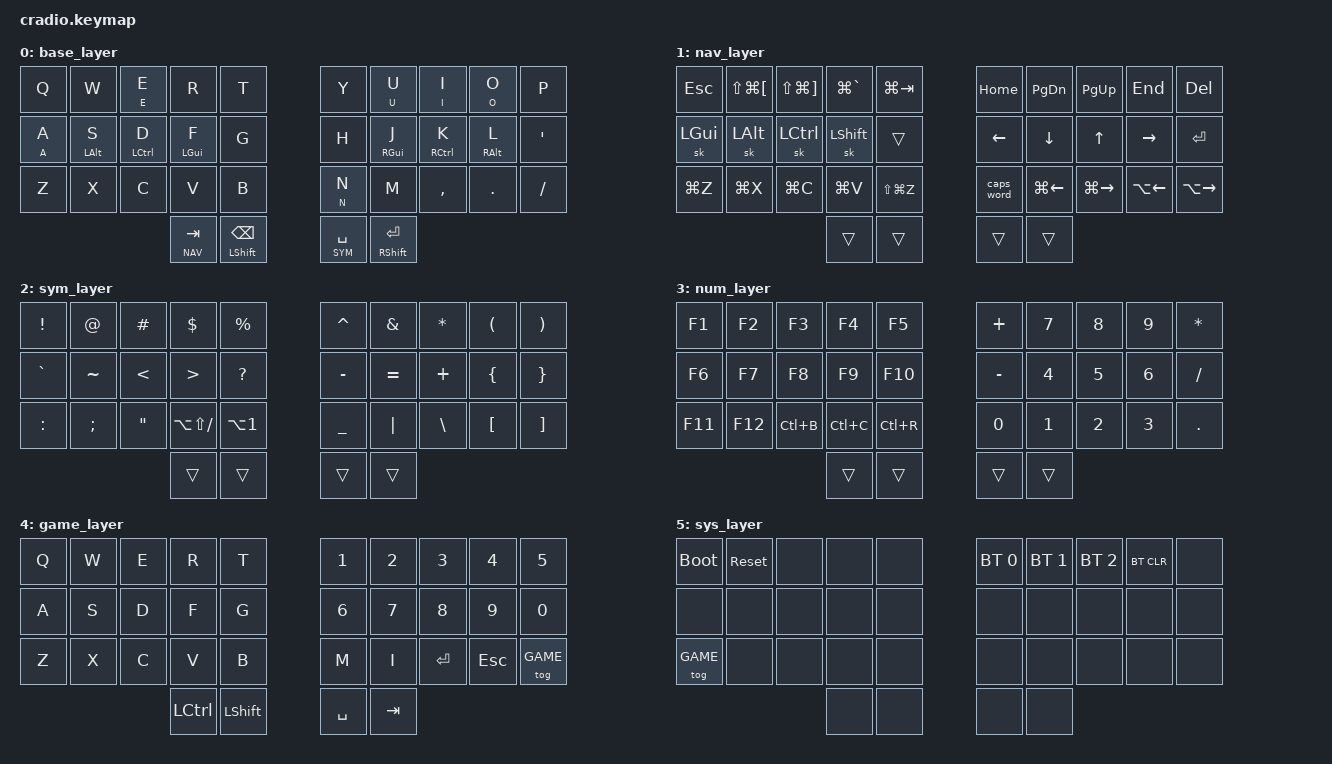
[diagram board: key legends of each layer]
// Copyright (c) 2022 The ZMK Contributors
// SPDX-License-Identifier: MIT

#include <behaviors.dtsi>
#include <dt-bindings/zmk/keys.h>
#include <dt-bindings/zmk/bt.h>
#include <dt-bindings/zmk/pointing.h>
#include <dt-bindings/zmk/mouse.h>

// Layers
#define BASE 0
#define NAV  1
#define SYM  2
#define NUM  3
#define GAME 4
#define SYS  5

/ {
    macros {
        template_literal: template_literal_macro {
            compatible = "zmk,behavior-macro";
            label = "TEMPLATE_LITERAL";
            #binding-cells = <0>;
            bindings = <&kp GRAVE &kp DLLR &kp LBRC &kp RBRC &kp GRAVE>;
        };
        equals_strict: equals_strict_macro {
            compatible = "zmk,behavior-macro";
            label = "EQUALS_STRICT";
            #binding-cells = <0>;
            bindings = <&kp EQUAL &kp EQUAL &kp EQUAL>;
        };
        not_equal: not_equal_macro {
            compatible = "zmk,behavior-macro";
            label = "NOT_EQUAL";
            #binding-cells = <0>;
            bindings = <&kp EXCL &kp EQUAL &kp EQUAL>;
        };
        and_logical: and_logical_macro {
            compatible = "zmk,behavior-macro";
            label = "AND_LOGICAL";
            #binding-cells = <0>;
            bindings = <&kp AMPS &kp AMPS>;
        };
        or_logical: or_logical_macro {
            compatible = "zmk,behavior-macro";
            label = "OR_LOGICAL";
            #binding-cells = <0>;
            bindings = <&kp PIPE &kp PIPE>;
        };
        arrow: arrow_macro {
            compatible = "zmk,behavior-macro";
            label = "ARROW";
            #binding-cells = <0>;
            bindings = <&kp EQUAL &kp GT>;
        };

        // macOS US layout: Option+E then a vowel gives an acute accent
        acute: acute_macro {
            compatible = "zmk,behavior-macro-one-param";
            label = "ACUTE";
            #binding-cells = <1>;
            bindings = <&macro_tap &kp LA(E) &macro_param_1to1 &kp MACRO_PLACEHOLDER>;
        };
        // macOS US layout: Option+N then n gives ñ
        tilde: tilde_macro {
            compatible = "zmk,behavior-macro-one-param";
            label = "TILDE";
            #binding-cells = <1>;
            bindings = <&macro_tap &kp LA(N) &macro_param_1to1 &kp MACRO_PLACEHOLDER>;
        };
    };

    combos {
        compatible = "zmk,combos";
        #include "combos.dtsi"
    };

    behaviors {
        // Home row mods
        ht: hold_tap {
            compatible = "zmk,behavior-hold-tap";
            #binding-cells = <2>;
            flavor = "tap-preferred";
            tapping-term-ms = <220>;
            quick-tap-ms = <150>;
            require-prior-idle-ms = <100>;
            bindings = <&kp>, <&kp>;
        };
        // Tap = vowel, hold = accented vowel
        ha: hold_tap_accent {
            compatible = "zmk,behavior-hold-tap";
            #binding-cells = <2>;
            flavor = "tap-preferred";
            tapping-term-ms = <200>;
            quick-tap-ms = <150>;
            require-prior-idle-ms = <100>;
            bindings = <&acute>, <&kp>;
        };
        // Tap = n, hold = ñ
        hn: hold_tap_tilde {
            compatible = "zmk,behavior-hold-tap";
            #binding-cells = <2>;
            flavor = "tap-preferred";
            tapping-term-ms = <200>;
            quick-tap-ms = <150>;
            require-prior-idle-ms = <100>;
            bindings = <&tilde>, <&kp>;
        };
    };

    conditional_layers {
        compatible = "zmk,conditional-layers";
        tri_layer {
            if-layers = <1 2>;
            then-layer = <3>;
        };
    };

    keymap {
        compatible = "zmk,keymap";

        base_layer {
            bindings = <
        //  Q         W         E´        R         T            Y         U´        I´        O´        P
            &kp Q     &kp W     &ha E E   &kp R     &kp T        &kp Y     &ha U U   &ha I I   &ha O O   &kp P
        //  A´        S⌥        D⌃        F⌘        G            H         J⌘        K⌃        L⌥        '
            &ha A A   &ht LALT S &ht LCTRL D &ht LGUI F &kp G    &kp H     &ht RGUI J &ht RCTRL K &ht RALT L &kp SQT
        //  Z         X         C         V         B            Ñ         M         ,         .         /
            &kp Z     &kp X     &kp C     &kp V     &kp B        &hn N N   &kp M     &kp COMMA &kp DOT   &kp FSLH
        //                      Tab/NAV   Bksp/⇧                 Space/SYM Enter/⇧
                                &lt NAV TAB &ht LSHFT BSPC       &lt SYM SPACE &ht RSHFT RET
            >;
        };

        nav_layer {
            bindings = <
        //  Esc       ⌘⇧[       ⌘⇧]       ⌘`        ⌘Tab         Home      PgDn      PgUp      End       Del
            &kp ESC   &kp LS(LG(LBKT)) &kp LS(LG(RBKT)) &kp LG(GRAVE) &kp LG(TAB)   &kp HOME  &kp PG_DN &kp PG_UP &kp END   &kp DEL
        //  ⌘         ⌥         ⌃         ⇧         ·            ←         ↓         ↑         →         Enter
            &sk LGUI  &sk LALT  &sk LCTRL &sk LSHFT &trans       &kp LEFT  &kp DOWN  &kp UP    &kp RIGHT &kp RET
        //  ⌘Z        ⌘X        ⌘C        ⌘V        ⌘⇧Z          Caps      ⌘←        ⌘→        ⌥←        ⌥→
            &kp LG(Z) &kp LG(X) &kp LG(C) &kp LG(V) &kp LS(LG(Z))  &caps_word &kp LG(LEFT) &kp LG(RIGHT) &kp LA(LEFT) &kp LA(RIGHT)
                                &trans    &trans                 &trans    &trans
            >;
        };

        sym_layer {
            bindings = <
        //  !         @         #         $         %            ^         &         *         (         )
            &kp EXCL  &kp AT    &kp HASH  &kp DLLR  &kp PRCNT    &kp CARET &kp AMPS  &kp ASTRK &kp LPAR  &kp RPAR
        //  `         ~         <         >         ?            -         =         +         {         }
            &kp GRAVE &kp TILDE &kp LT    &kp GT    &kp QMARK    &kp MINUS &kp EQUAL &kp PLUS  &kp LBRC  &kp RBRC
        //  :         ;         "         ¿         ¡            _         |         \         [         ]
            &kp COLON &kp SEMI  &kp DQT   &kp LA(LS(FSLH)) &kp LA(N1)  &kp UNDER &kp PIPE &kp BSLH &kp LBKT  &kp RBKT
                                &trans    &trans                 &trans    &trans
            >;
        };

        num_layer {
            bindings = <
        //  F1        F2        F3        F4        F5           +         7         8         9         *
            &kp F1    &kp F2    &kp F3    &kp F4    &kp F5       &kp PLUS  &kp N7    &kp N8    &kp N9    &kp ASTRK
        //  F6        F7        F8        F9        F10          -         4         5         6         /
            &kp F6    &kp F7    &kp F8    &kp F9    &kp F10      &kp MINUS &kp N4    &kp N5    &kp N6    &kp FSLH
        //  F11       F12       ⌃B (tmux) ⌃C        ⌃R           0         1         2         3         .
            &kp F11   &kp F12   &kp LC(B) &kp LC(C) &kp LC(R)    &kp N0    &kp N1    &kp N2    &kp N3    &kp DOT
                                &trans    &trans                 &trans    &trans
            >;
        };

        // Plain keys only: no hold-tap, no combos
        game_layer {
            bindings = <
        //  Q         W         E         R         T            1         2         3         4         5
            &kp Q     &kp W     &kp E     &kp R     &kp T        &kp N1    &kp N2    &kp N3    &kp N4    &kp N5
        //  A         S         D         F         G            6         7         8         9         0
            &kp A     &kp S     &kp D     &kp F     &kp G        &kp N6    &kp N7    &kp N8    &kp N9    &kp N0
        //  Z         X         C         V         B            M         I         Enter     Esc       EXIT
            &kp Z     &kp X     &kp C     &kp V     &kp B        &kp M     &kp I     &kp RET   &kp ESC   &tog GAME
        //                      Ctrl      Shift                  Space     Tab
                                &kp LCTRL &kp LSHFT              &kp SPACE &kp TAB
            >;
        };

        sys_layer {
            bindings = <
        //  BOOT      RESET     ·         ·         ·            BT0       BT1       BT2       BT CLR    ·
            &bootloader &sys_reset &none  &none     &none        &bt BT_SEL 0 &bt BT_SEL 1 &bt BT_SEL 2 &bt BT_CLR &none
        //  ·         ·         ·         ·         ·            ·         ·         ·         ·         ·
            &none     &none     &none     &none     &none        &none     &none     &none     &none     &none
        //  GAME      ·         ·         ·         ·            ·         ·         ·         ·         ·
            &tog GAME &none     &none     &none     &none        &none     &none     &none     &none     &none
                                &none     &none                  &none     &none
            >;
        };
    };
};
